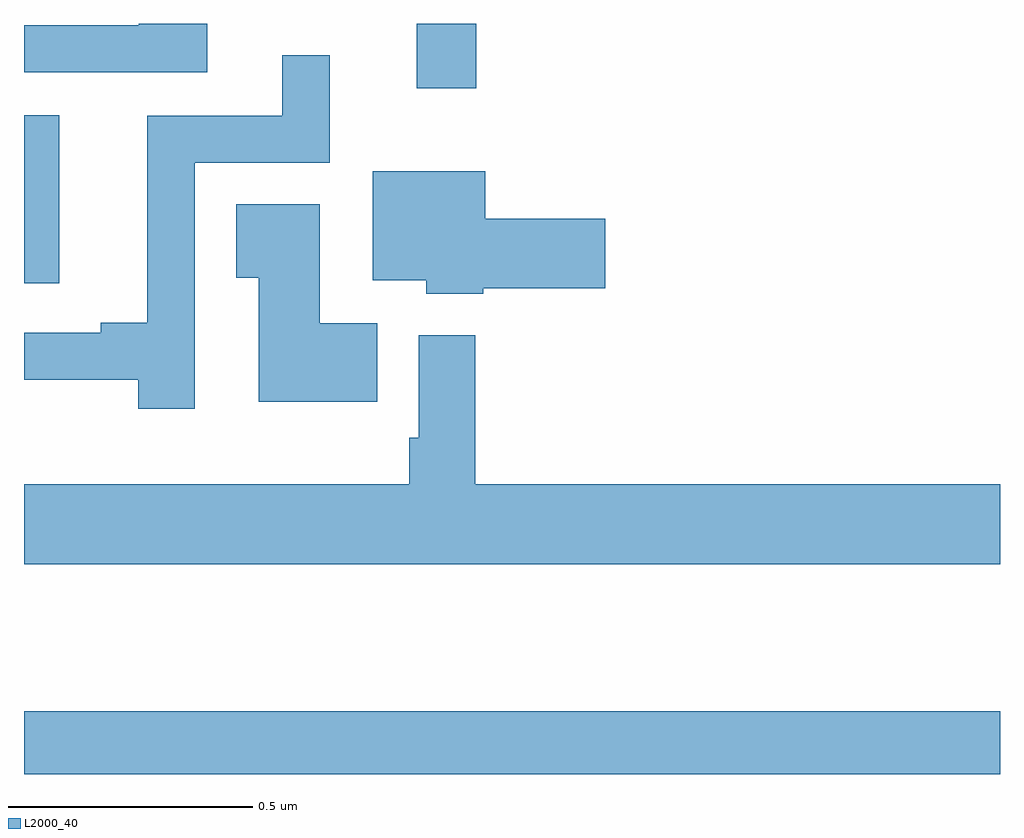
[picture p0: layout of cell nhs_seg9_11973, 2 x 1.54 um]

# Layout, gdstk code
import gdstk
lib = gdstk.Library(unit=1e-6, precision=1e-09)
def R(c, l, rs):  # rectangles x0, y0, x1, y1
    for r in rs: c.add(gdstk.rectangle(r[:2], r[2:], *l))
def P(c, l, *ps):  # polygons
    for p in ps: c.add(gdstk.Polygon(p, *l))
L2000_40 = (2000, 40)

nhs_seg9_11973 = lib.new_cell('nhs_seg9_11973')
R(nhs_seg9_11973, L2000_40, [(262,1223.962,264,1224.091), (262,1224.968,262.072,1225.312), (262.805,1225.368,262.927,1225.5)])
P(nhs_seg9_11973, L2000_40, [(262.375,1225.5),(262.235,1225.5),(262.235,1225.497),(262,1225.497),(262,1225.401),(262.375,1225.401)],
  [(262.35,1225.215),(262.627,1225.215),(262.627,1225.435),(262.529,1225.435),(262.529,1225.311),(262.253,1225.311),(262.253,1224.887),(262.157,1224.887),(262.157,1224.867),(262,1224.867),(262,1224.77),(262.234,1224.77),(262.234,1224.711),(262.35,1224.711)],
  [(262.941,1224.958),(263.191,1224.958),(263.191,1225.1),(262.945,1225.1),(262.945,1225.198),(262.715,1225.198),(262.715,1224.974),(262.824,1224.974),(262.824,1224.947),(262.941,1224.947)],
  [(262.724,1224.886),(262.606,1224.886),(262.606,1225.13),(262.435,1225.13),(262.435,1224.979),(262.481,1224.979),(262.481,1224.725),(262.724,1224.725)],
  [(264,1224.556),(262.925,1224.556),(262.925,1224.862),(262.809,1224.862),(262.809,1224.652),(262.789,1224.652),(262.789,1224.556),(262,1224.556),(262,1224.392),(264,1224.392)])

lib.write_gds('nhs_seg9_11973.gds')
